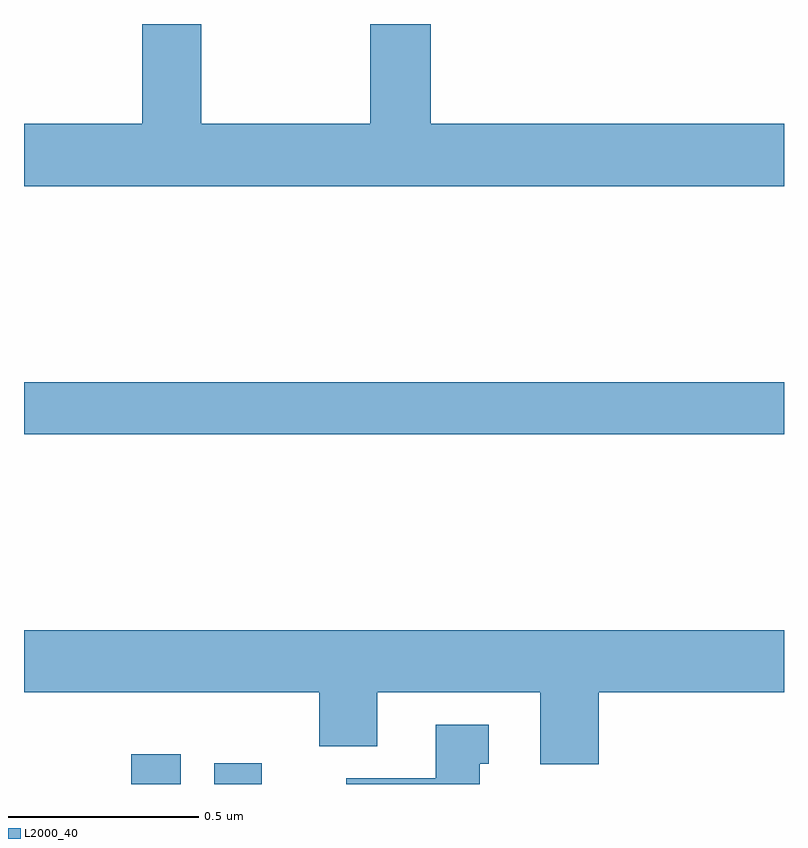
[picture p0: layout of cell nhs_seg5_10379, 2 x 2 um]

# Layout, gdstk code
import gdstk
lib = gdstk.Library(unit=1e-6, precision=1e-09)
def R(c, l, rs):  # rectangles x0, y0, x1, y1
    for r in rs: c.add(gdstk.rectangle(r[:2], r[2:], *l))
def P(c, l, *ps):  # polygons
    for p in ps: c.add(gdstk.Polygon(p, *l))
L2000_40 = (2000, 40)

nhs_seg5_10379 = lib.new_cell('nhs_seg5_10379')
R(nhs_seg5_10379, L2000_40, [(245.282,909.799,245.413,909.877), (245.501,909.799,245.626,909.853), (245,910.72,247,910.856)])
P(nhs_seg5_10379, L2000_40, [(247,911.536),(246.071,911.536),(246.071,911.799),(245.911,911.799),(245.911,911.536),(245.466,911.536),(245.466,911.799),(245.311,911.799),(245.311,911.536),(245,911.536),(245,911.372),(247,911.372)],
  [(246.512,910.04),(247,910.04),(247,910.204),(245,910.204),(245,910.04),(245.777,910.04),(245.777,909.899),(245.929,909.899),(245.929,910.04),(246.359,910.04),(246.359,909.851),(246.512,909.851)],
  [(246.199,909.852),(246.223,909.852),(246.223,909.955),(246.083,909.955),(246.083,909.814),(245.848,909.814),(245.848,909.799),(246.199,909.799)])

lib.write_gds('nhs_seg5_10379.gds')
